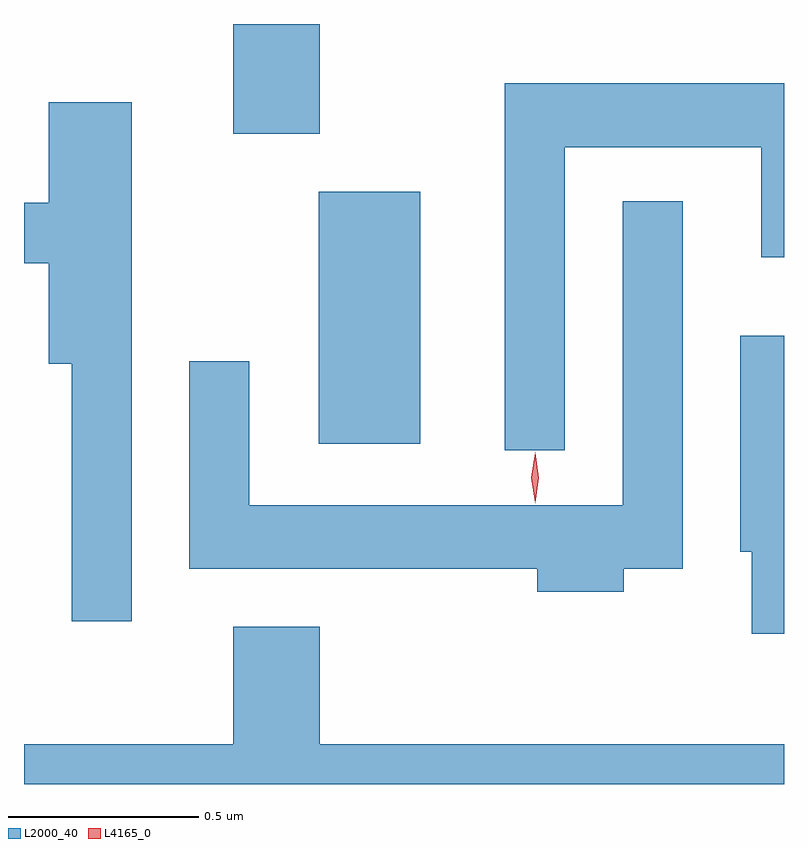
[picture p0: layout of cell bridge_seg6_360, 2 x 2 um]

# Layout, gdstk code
import gdstk
lib = gdstk.Library(unit=1e-6, precision=1e-09)
def R(c, l, rs):  # rectangles x0, y0, x1, y1
    for r in rs: c.add(gdstk.rectangle(r[:2], r[2:], *l))
def P(c, l, *ps):  # polygons
    for p in ps: c.add(gdstk.Polygon(p, *l))
L2000_40 = (2000, 40)
L4165_0 = (4165, 0)

bridge_seg6_360 = lib.new_cell('bridge_seg6_360')
R(bridge_seg6_360, L2000_40, [(1281.606,1539.996,1281.874,1540.659), (1281.381,1540.811,1281.609,1541.1)])
P(bridge_seg6_360, L2000_40, [(1282.254,1540.776),(1282.771,1540.776),(1282.771,1540.486),(1282.831,1540.486),(1282.831,1540.944),(1282.096,1540.944),(1282.096,1539.978),(1282.254,1539.978)],
  [(1281.114,1540.894),(1280.896,1540.894),(1280.896,1540.629),(1280.831,1540.629),(1280.831,1540.471),(1280.896,1540.471),(1280.896,1540.206),(1280.956,1540.206),(1280.956,1539.528),(1281.114,1539.528)],
  [(1282.409,1539.666),(1282.564,1539.666),(1282.564,1540.633),(1282.406,1540.633),(1282.406,1539.834),(1281.424,1539.834),(1281.424,1540.213),(1281.266,1540.213),(1281.266,1539.666),(1282.181,1539.666),(1282.181,1539.606),(1282.409,1539.606)],
  [(1282.831,1540.279),(1282.716,1540.279),(1282.716,1539.711),(1282.746,1539.711),(1282.746,1539.496),(1282.831,1539.496)],
  [(1282.831,1539.204),(1281.609,1539.204),(1281.609,1539.514),(1281.381,1539.514),(1281.381,1539.204),(1280.831,1539.204),(1280.831,1539.1),(1282.831,1539.1)])
P(bridge_seg6_360, L4165_0, [(1282.177,1539.839),(1282.176,1539.84),(1282.166,1539.906),(1282.176,1539.972),(1282.176,1539.973),(1282.177,1539.972),(1282.186,1539.906),(1282.177,1539.84)])

lib.write_gds('bridge_seg6_360.gds')
